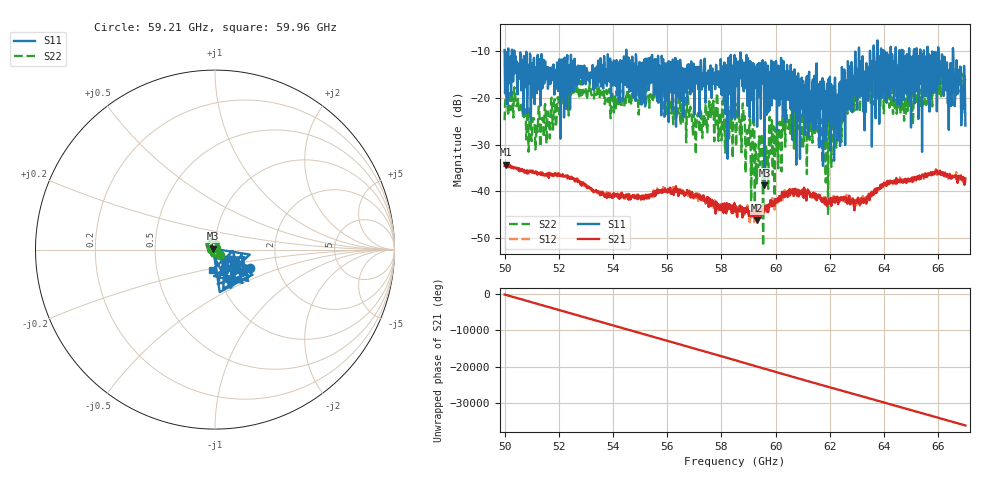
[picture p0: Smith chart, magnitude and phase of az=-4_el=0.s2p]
!Created with skrf (http://scikit-rf.org).
# GHz S RI R 50.0
!freq ReS11 ImS11 ReS21 ImS21 ReS12 ImS12 ReS22 ImS22
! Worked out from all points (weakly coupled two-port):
!   1001 points, 50 GHz to 67 GHz, reference 50 ohm
!   highest |S21| = -34.28 dB at 50.03 GHz (marker M1); lowest = -46.2 dB at 59.32 GHz (marker M2)
!   lowest |S11| = -38.7 dB at 59.59 GHz (marker M3), VSWR 1.02, Z = 49 + j0.473 ohm
!   |S11| at or under -10 dB: 50.36 GHz to 54.49 GHz (4.129 GHz wide, 7.88 % of centre); 54.49 GHz to 63.07 GHz (8.581 GHz wide, 14.6 % of centre); 66.01 GHz to 66.54 GHz (532.4 MHz wide, 0.803 % of centre) (the widest 3 of 24)
!   |S22| runs from -51.8 to -13.8 dB; largest |S21 - S12| = 0.0024
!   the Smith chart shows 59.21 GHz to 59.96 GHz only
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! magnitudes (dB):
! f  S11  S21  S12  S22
! 50 GHz  -9.7  -34.6  -34.3  -24.8
! 50.03 GHz  -13.4  -34.3  -34.5  -19.6
! 50.42 GHz  -13.4  -35.1  -35.0  -21.6
! 51.07 GHz  -11.7  -36.0  -36.0  -24.3
! 52.84 GHz  -14.0  -38.8  -38.5  -19.5
! 55.68 GHz  -13.3  -40.4  -40.3  -21.6
! 57 GHz  -23.5  -41.0  -40.9  -21.7
! 58.5 GHz  -24.3  -43.5  -43.7  -24.9
! 58.79 GHz  -14.0  -44.2  -44.1  -21.2
! 59.32 GHz  -26.2  -46.2  -44.0  -34.2
! 59.59 GHz  -38.7  -43.9  -43.8  -29.8
! 60.64 GHz  -14.4  -39.5  -40.0  -22.6
! 61.34 GHz  -25.1  -40.6  -41.4  -26.4
! 62 GHz  -15.5  -41.7  -41.7  -25.6
! 62.55 GHz  -14.8  -41.6  -42.2  -19.5
! 63.01 GHz  -22.5  -41.8  -42.8  -19.9
! 63.33 GHz  -23.0  -41.6  -41.3  -19.3
! 64.18 GHz  -17.7  -38.4  -38.0  -18.4
! 66.08 GHz  -14.8  -36.2  -35.6  -15.7
! 66.42 GHz  -15.4  -36.3  -37.0  -16.3
! 66.75 GHz  -16.6  -37.1  -37.0  -18.5
! 67 GHz  -25.9  -37.3  -37.7  -15.9
